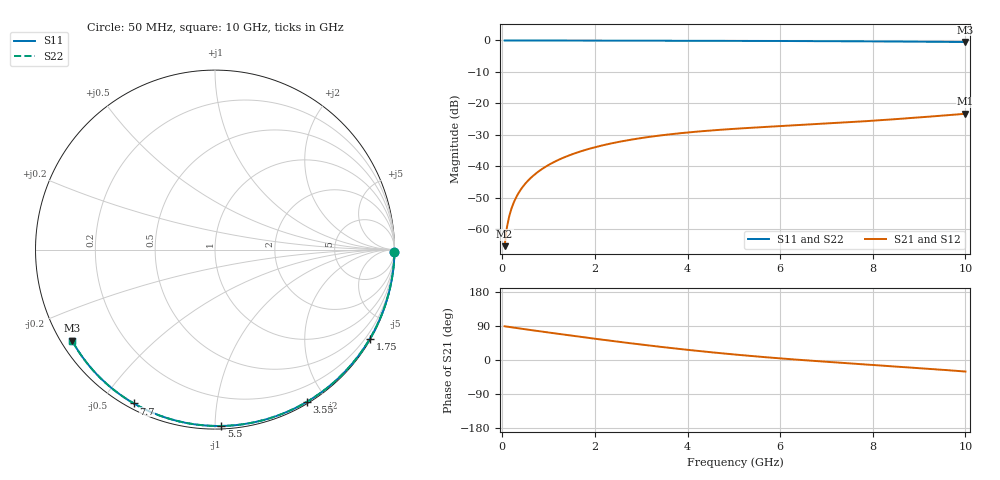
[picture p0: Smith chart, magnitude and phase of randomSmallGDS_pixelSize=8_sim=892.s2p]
! freq	dB(S11)	phase(S11)	dB(S12)	phase(S12)
!  dB(S21)	phase(S21)	dB(S22)	phase(S22)
!S-par simulation data
#  GHz  S  DB  R 50
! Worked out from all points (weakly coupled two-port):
!   200 points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, 50 MHz to 10 GHz, reference 50 ohm
!   highest |S21| = -23.28 dB at 10 GHz (marker M1); lowest = -65.3 dB at 50 MHz (marker M2)
!   lowest |S11| = -0.5 dB at 10 GHz (marker M3), VSWR 34.87, Z = 1.56 - j14.6 ohm
!   |S11| at or under -10 dB: nowhere
!   |S22| runs from -0.5 to 0.0 dB; largest |S21 - S12| = 0
!   S11 on the Smith chart (normalised r, x): 50 MHz: open; 1.75 GHz: 0.03, -3.74; 3.55 GHz: 0.02, -1.77; 5.5 GHz: 0.02, -1.04; 7.7 GHz: 0.02, -0.60; 10 GHz: 0.03, -0.29
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0.05  -0.00 -0.9  -65.31 89.1  -65.31 89.1  -0.00 -0.9
0.1  -0.00 -1.7  -59.29 88.1  -59.29 88.1  -0.00 -1.7
0.15  -0.00 -2.6  -55.78 87.2  -55.78 87.2  -0.00 -2.6
0.2  -0.00 -3.5  -53.29 86.3  -53.29 86.3  -0.00 -3.5
0.25  -0.00 -4.3  -51.36 85.4  -51.36 85.4  -0.00 -4.4
0.35  -0.00 -6.1  -48.47 83.6  -48.47 83.6  -0.00 -6.1
0.5  -0.01 -8.7  -45.41 81.0  -45.41 81.0  -0.01 -8.7
0.7  -0.01 -12.1  -42.54 77.6  -42.54 77.6  -0.01 -12.1
1  -0.02 -17.2  -39.52 72.6  -39.52 72.6  -0.02 -17.3
1.35  -0.03 -23.2  -37.03 66.7  -37.03 66.7  -0.03 -23.2
1.75  -0.04 -29.9  -34.94 60.2  -34.94 60.2  -0.04 -29.9
2.5  -0.06 -42.3  -32.25 48.3  -32.25 48.3  -0.06 -42.3
3.4  -0.08 -56.7  -30.18 35.0  -30.18 35.0  -0.08 -56.7
3.55  -0.08 -59.0  -29.91 32.9  -29.91 32.9  -0.08 -59.1
4.3  -0.10 -70.5  -28.83 23.0  -28.83 23.0  -0.10 -70.5
5.05  -0.13 -81.5  -28.01 14.1  -28.01 14.1  -0.13 -81.6
5.5  -0.15 -88.0  -27.61 9.3  -27.61 9.3  -0.15 -88.1
6.7  -0.21 -104.6  -26.63 -2.1  -26.63 -2.1  -0.21 -104.6
7.7  -0.27 -117.8  -25.77 -10.4  -25.77 -10.4  -0.27 -117.9
8.35  -0.33 -126.3  -25.13 -15.7  -25.13 -15.7  -0.33 -126.4
9.2  -0.41 -137.2  -24.21 -23.1  -24.21 -23.1  -0.41 -137.3
10  -0.50 -147.4  -23.28 -30.5  -23.28 -30.5  -0.50 -147.5
